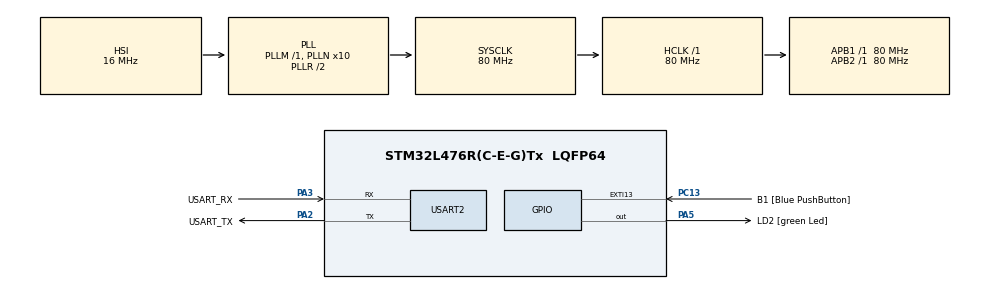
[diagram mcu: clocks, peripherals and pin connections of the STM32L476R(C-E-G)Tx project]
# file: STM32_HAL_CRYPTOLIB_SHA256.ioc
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Mcu.Family=STM32L4
Mcu.Name=STM32L476R(C-E-G)Tx
Mcu.Package=LQFP64
NVIC.PriorityGroup=NVIC_PRIORITYGROUP_4
PA13\ (JTMS-SWDIO).GPIO_Label=TMS
PA13\ (JTMS-SWDIO).Mode=Serial_Wire
PA13\ (JTMS-SWDIO).Signal=SYS_JTMS-SWDIO
PA14\ (JTCK-SWCLK).GPIO_Label=TCK
PA14\ (JTCK-SWCLK).Mode=Serial_Wire
PA14\ (JTCK-SWCLK).Signal=SYS_JTCK-SWCLK
PA2.GPIO_Label=USART_TX
PA2.GPIO_Mode=GPIO_MODE_AF_PP
PA2.GPIO_PuPd=GPIO_NOPULL
PA2.GPIO_Speed=GPIO_SPEED_FREQ_VERY_HIGH
PA2.Mode=Asynchronous
PA2.Signal=USART2_TX
PA3.GPIO_Label=USART_RX
PA3.GPIO_Mode=GPIO_MODE_AF_PP
PA3.GPIO_PuPd=GPIO_NOPULL
PA3.GPIO_Speed=GPIO_SPEED_FREQ_VERY_HIGH
PA3.Mode=Asynchronous
PA3.Signal=USART2_RX
PA5.GPIO_Label=LD2 [green Led]
PA5.GPIO_ModeDefaultOutputPP=GPIO_MODE_OUTPUT_PP
PA5.GPIO_PuPd=GPIO_NOPULL
PA5.GPIO_Speed=GPIO_SPEED_FREQ_LOW
PA5.Signal=GPIO_Output
PB3\ (JTDO-TRACESWO).GPIO_Label=SWO
PB3\ (JTDO-TRACESWO).Signal=SYS_JTDO-SWO
PC13.GPIO_Label=B1 [Blue PushButton]
PC13.GPIO_ModeDefaultEXTI=GPIO_MODE_IT_FALLING
PC13.GPIO_PuPd=GPIO_NOPULL
PC13.Signal=GPXTI13
PC14-OSC32_IN\ (PC14).Mode=LSE-External-Oscillator
PC14-OSC32_IN\ (PC14).Signal=RCC_OSC32_IN
PC15-OSC32_OUT\ (PC15).Mode=LSE-External-Oscillator
PC15-OSC32_OUT\ (PC15).Signal=RCC_OSC32_OUT
PH0-OSC_IN\ (PH0).Signal=RCC_OSC_IN
PH1-OSC_OUT\ (PH1).Signal=RCC_OSC_OUT
ProjectManager.HeapSize=0x200
ProjectManager.StackSize=0x400
ProjectManager.TargetToolchain=STM32CubeIDE
RCC.ADCFreq_Value=64000000
RCC.AHBFreq_Value=80000000
RCC.APB1Freq_Value=80000000
RCC.APB1TimFreq_Value=80000000
RCC.APB2Freq_Value=80000000
RCC.APB2TimFreq_Value=80000000
RCC.CortexFreq_Value=80000000
RCC.HCLKFreq_Value=80000000
RCC.HSE_VALUE=8000000
RCC.HSI_VALUE=16000000
RCC.MSI_VALUE=4000000
RCC.PLLN=10
RCC.PLLSAI1Q=RCC_PLLQ_DIV4
RCC.PLLSourceVirtual=RCC_PLLSOURCE_HSI
RCC.PREFETCH_ENABLE=1
RCC.SYSCLKFreq_VALUE=80000000
RCC.SYSCLKSource=RCC_SYSCLKSOURCE_PLLCLK
RCC.USBFreq_Value=32000000
RCC.VCOOutputFreq_Value=160000000
USART2.VirtualMode-Asynchronous=VM_ASYNC
board=NUCLEO-L476RG

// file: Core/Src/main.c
/* USER CODE BEGIN Header */
/**
 ******************************************************************************
 * @file           : main.c
 * @brief          : Main program body
 ******************************************************************************
 * @attention
 *
 * Copyright (c) 2022 STMicroelectronics.
 * All rights reserved.
 *
 * This software is licensed under terms that can be found in the LICENSE file
 * in the root directory of this software component.
 * If no LICENSE file comes with this software, it is provided AS-IS.
 *
 ******************************************************************************
 */
/* USER CODE END Header */
#include "main.h"
#include "usart.h"
#include "gpio.h"

/* USER CODE BEGIN Includes */
#include <stdio.h>
#include <string.h>
#include <stdbool.h>
#include "cmox_crypto.h"
/* USER CODE END Includes */

/* USER CODE BEGIN PD */
#define CHUNK_SIZE  48u
/* USER CODE END PD */

void SystemClock_Config(void);

/* USER CODE BEGIN 0 */
int __io_putchar (int ch)
{
  HAL_UART_Transmit(&huart2, (uint8_t*)&ch, 1, HAL_MAX_DELAY);
  return ch;
}

void printHexArray(const uint8_t* arr, const size_t len)
{
  for(size_t i = 0; i < len; i++)
  {
    printf("%02X ", arr[i]);
  }

  printf("\r\n");
}

/** Extract from SHA256LongMsg.rsp
Len = 2096
Msg = 6b918fb1a5ad1f9c5e5dbdf10a93a9c8f6bca89f37e79c9fe12a57227941b173ac79d8d440cde8c64c4ebc84a4c803
d198a296f3de060900cc427f58ca6ec373084f95dd6c7c427ecfbf781f68be572a88dbcbb188581ab200bfb99a3a816407e7
dd6dd21003554d4f7a99c93ebfce5c302ff0e11f26f83fe669acefb0c1bbb8b1e909bd14aa48ba3445c88b0e1190eef765ad
898ab8ca2fe507015f1578f10dce3c11a55fb9434ee6e9ad6cc0fdc4684447a9b3b156b908646360f24fec2d8fa69e2c93db
78708fcd2eef743dcb9353819b8d667c48ed54cd436fb1476598c4a1d7028e6f2ff50751db36ab6bc32435152a00abd3d58d
9a8770d9a3e52d5a3628ae3c9e0325
MD = 46500b6ae1ab40bde097ef168b0f3199049b55545a1588792d39d594f493dca7
 */

const uint8_t message[] =
{
    0x6b, 0x91, 0x8f, 0xb1, 0xa5, 0xad, 0x1f, 0x9c, 0x5e, 0x5d, 0xbd, 0xf1, 0x0a, 0x93, 0xa9, 0xc8,
    0xf6, 0xbc, 0xa8, 0x9f, 0x37, 0xe7, 0x9c, 0x9f, 0xe1, 0x2a, 0x57, 0x22, 0x79, 0x41, 0xb1, 0x73,
    0xac, 0x79, 0xd8, 0xd4, 0x40, 0xcd, 0xe8, 0xc6, 0x4c, 0x4e, 0xbc, 0x84, 0xa4, 0xc8, 0x03, 0xd1,
    0x98, 0xa2, 0x96, 0xf3, 0xde, 0x06, 0x09, 0x00, 0xcc, 0x42, 0x7f, 0x58, 0xca, 0x6e, 0xc3, 0x73,
    0x08, 0x4f, 0x95, 0xdd, 0x6c, 0x7c, 0x42, 0x7e, 0xcf, 0xbf, 0x78, 0x1f, 0x68, 0xbe, 0x57, 0x2a,
    0x88, 0xdb, 0xcb, 0xb1, 0x88, 0x58, 0x1a, 0xb2, 0x00, 0xbf, 0xb9, 0x9a, 0x3a, 0x81, 0x64, 0x07,
    0xe7, 0xdd, 0x6d, 0xd2, 0x10, 0x03, 0x55, 0x4d, 0x4f, 0x7a, 0x99, 0xc9, 0x3e, 0xbf, 0xce, 0x5c,
    0x30, 0x2f, 0xf0, 0xe1, 0x1f, 0x26, 0xf8, 0x3f, 0xe6, 0x69, 0xac, 0xef, 0xb0, 0xc1, 0xbb, 0xb8,
    0xb1, 0xe9, 0x09, 0xbd, 0x14, 0xaa, 0x48, 0xba, 0x34, 0x45, 0xc8, 0x8b, 0x0e, 0x11, 0x90, 0xee,
    0xf7, 0x65, 0xad, 0x89, 0x8a, 0xb8, 0xca, 0x2f, 0xe5, 0x07, 0x01, 0x5f, 0x15, 0x78, 0xf1, 0x0d,
    0xce, 0x3c, 0x11, 0xa5, 0x5f, 0xb9, 0x43, 0x4e, 0xe6, 0xe9, 0xad, 0x6c, 0xc0, 0xfd, 0xc4, 0x68,
    0x44, 0x47, 0xa9, 0xb3, 0xb1, 0x56, 0xb9, 0x08, 0x64, 0x63, 0x60, 0xf2, 0x4f, 0xec, 0x2d, 0x8f,
    0xa6, 0x9e, 0x2c, 0x93, 0xdb, 0x78, 0x70, 0x8f, 0xcd, 0x2e, 0xef, 0x74, 0x3d, 0xcb, 0x93, 0x53,
    0x81, 0x9b, 0x8d, 0x66, 0x7c, 0x48, 0xed, 0x54, 0xcd, 0x43, 0x6f, 0xb1, 0x47, 0x65, 0x98, 0xc4,
    0xa1, 0xd7, 0x02, 0x8e, 0x6f, 0x2f, 0xf5, 0x07, 0x51, 0xdb, 0x36, 0xab, 0x6b, 0xc3, 0x24, 0x35,
    0x15, 0x2a, 0x00, 0xab, 0xd3, 0xd5, 0x8d, 0x9a, 0x87, 0x70, 0xd9, 0xa3, 0xe5, 0x2d, 0x5a, 0x36,
    0x28, 0xae, 0x3c, 0x9e, 0x03, 0x25
};
const uint8_t expectedHash[] =
{
    0x46, 0x50, 0x0b, 0x6a, 0xe1, 0xab, 0x40, 0xbd, 0xe0, 0x97, 0xef, 0x16, 0x8b, 0x0f, 0x31, 0x99,
    0x04, 0x9b, 0x55, 0x54, 0x5a, 0x15, 0x88, 0x79, 0x2d, 0x39, 0xd5, 0x94, 0xf4, 0x93, 0xdc, 0xa7
};

uint8_t hash[CMOX_SHA256_SIZE];

bool SingleCallHash(const uint8_t* message, const size_t messageLen)
{
  cmox_hash_retval_t retVal;
  size_t outputLen;

  retVal = cmox_hash_compute(
      CMOX_SHA256_ALGO,
      message, messageLen,
      hash,
      CMOX_SHA256_SIZE,
      &outputLen);

  if((retVal != CMOX_HASH_SUCCESS) || (outputLen != CMOX_SHA256_SIZE)) return false;

  return true;
}

bool MultiCallHash(const uint8_t* message, const size_t messageLen)
{
  cmox_sha256_handle_t ctxSHA256;
  cmox_hash_handle_t *ctxHash;
  size_t outputLen;
  uint32_t index;

  ctxHash = cmox_sha256_construct(&ctxSHA256);
  if(ctxHash == NULL) return false;

  if(cmox_hash_init(ctxHash) != CMOX_HASH_SUCCESS) return false;

  if(cmox_hash_setTagLen(ctxHash, CMOX_SHA256_SIZE) != CMOX_HASH_SUCCESS) return false;

  for(index = 0; index < (messageLen - CHUNK_SIZE); index += CHUNK_SIZE)
  {
    if(cmox_hash_append(ctxHash, &message[index], CHUNK_SIZE) != CMOX_HASH_SUCCESS) return false;
  }

  if(index < messageLen)
  {
    if(cmox_hash_append(ctxHash, &message[index], messageLen - index) != CMOX_HASH_SUCCESS) return false;
  }

  if((cmox_hash_generateTag(ctxHash, hash, &outputLen) != CMOX_HASH_SUCCESS) ||
      (outputLen != CMOX_SHA256_SIZE)) return false;

  if (cmox_hash_cleanup(ctxHash) != CMOX_HASH_SUCCESS) return false;

  return true;
}

/* USER CODE END 0 */

int main(void)
{

  /* MCU Configuration--------------------------------------------------------*/

  /* Reset of all peripherals, Initializes the Flash interface and the Systick. */
  HAL_Init();

  /* Configure the system clock */
  SystemClock_Config();

  /* Initialize all configured peripherals */
  MX_GPIO_Init();
  MX_USART2_UART_Init();
  /* USER CODE BEGIN 2 */

  //initialize cmox
  if(cmox_initialize(NULL) != CMOX_INIT_SUCCESS)
  {
    Error_Handler();
  }

  printf("Expected SHA256 hash\r\n");
  printHexArray(expectedHash, sizeof(expectedHash));
  printf("\r\n");

  printf("SingCallHash Test\r\n");
  if(!SingleCallHash(message,sizeof(message)))
  {
    Error_Handler();
  }
  else
  {
    if(memcmp(expectedHash, hash, sizeof(expectedHash)) != 0)
    {
      Error_Handler();
    }
    else
    {
      printHexArray(hash, sizeof(hash));
      printf("\r\n");
    }
  }

  printf("MultiCallHash Test\r\n");
  if(!MultiCallHash(message, sizeof(message)))
  {
    Error_Handler();
  }
  else
  {
    if(memcmp(expectedHash, hash, sizeof(expectedHash)) != 0)
    {
      Error_Handler();
    }
    else
    {
      printHexArray(hash, sizeof(hash));
      printf("\r\n");
    }
  }

  //finalize cmox
  if(cmox_finalize(NULL) != CMOX_INIT_SUCCESS)
  {
    Error_Handler();
  }

  /* USER CODE END 2 */

  /* Infinite loop */
  while (1)
  {

  }
}

void SystemClock_Config(void)
{
  RCC_OscInitTypeDef RCC_OscInitStruct = {0};
  RCC_ClkInitTypeDef RCC_ClkInitStruct = {0};

  /** Configure the main internal regulator output voltage
   */
  if (HAL_PWREx_ControlVoltageScaling(PWR_REGULATOR_VOLTAGE_SCALE1) != HAL_OK)
  {
    Error_Handler();
  }

  /** Initializes the RCC Oscillators according to the specified parameters
   * in the RCC_OscInitTypeDef structure.
   */
  RCC_OscInitStruct.OscillatorType = RCC_OSCILLATORTYPE_HSI;
  RCC_OscInitStruct.HSIState = RCC_HSI_ON;
  RCC_OscInitStruct.HSICalibrationValue = RCC_HSICALIBRATION_DEFAULT;
  RCC_OscInitStruct.PLL.PLLState = RCC_PLL_ON;
  RCC_OscInitStruct.PLL.PLLSource = RCC_PLLSOURCE_HSI;
  RCC_OscInitStruct.PLL.PLLM = 1;
  RCC_OscInitStruct.PLL.PLLN = 10;
  RCC_OscInitStruct.PLL.PLLP = RCC_PLLP_DIV7;
  RCC_OscInitStruct.PLL.PLLQ = RCC_PLLQ_DIV2;
  RCC_OscInitStruct.PLL.PLLR = RCC_PLLR_DIV2;
  if (HAL_RCC_OscConfig(&RCC_OscInitStruct) != HAL_OK)
  {
    Error_Handler();
  }

  /** Initializes the CPU, AHB and APB buses clocks
   */
  RCC_ClkInitStruct.ClockType = RCC_CLOCKTYPE_HCLK|RCC_CLOCKTYPE_SYSCLK
      |RCC_CLOCKTYPE_PCLK1|RCC_CLOCKTYPE_PCLK2;
  RCC_ClkInitStruct.SYSCLKSource = RCC_SYSCLKSOURCE_PLLCLK;
  RCC_ClkInitStruct.AHBCLKDivider = RCC_SYSCLK_DIV1;
  RCC_ClkInitStruct.APB1CLKDivider = RCC_HCLK_DIV1;
  RCC_ClkInitStruct.APB2CLKDivider = RCC_HCLK_DIV1;

  if (HAL_RCC_ClockConfig(&RCC_ClkInitStruct, FLASH_LATENCY_4) != HAL_OK)
  {
    Error_Handler();
  }
}

void Error_Handler(void)
{
  /* USER CODE BEGIN Error_Handler_Debug */
  /* User can add his own implementation to report the HAL error return state */
  __disable_irq();
  while (1)
  {
    HAL_GPIO_WritePin(LD2_GPIO_Port, LD2_Pin, GPIO_PIN_SET);
  }
  /* USER CODE END Error_Handler_Debug */
}
